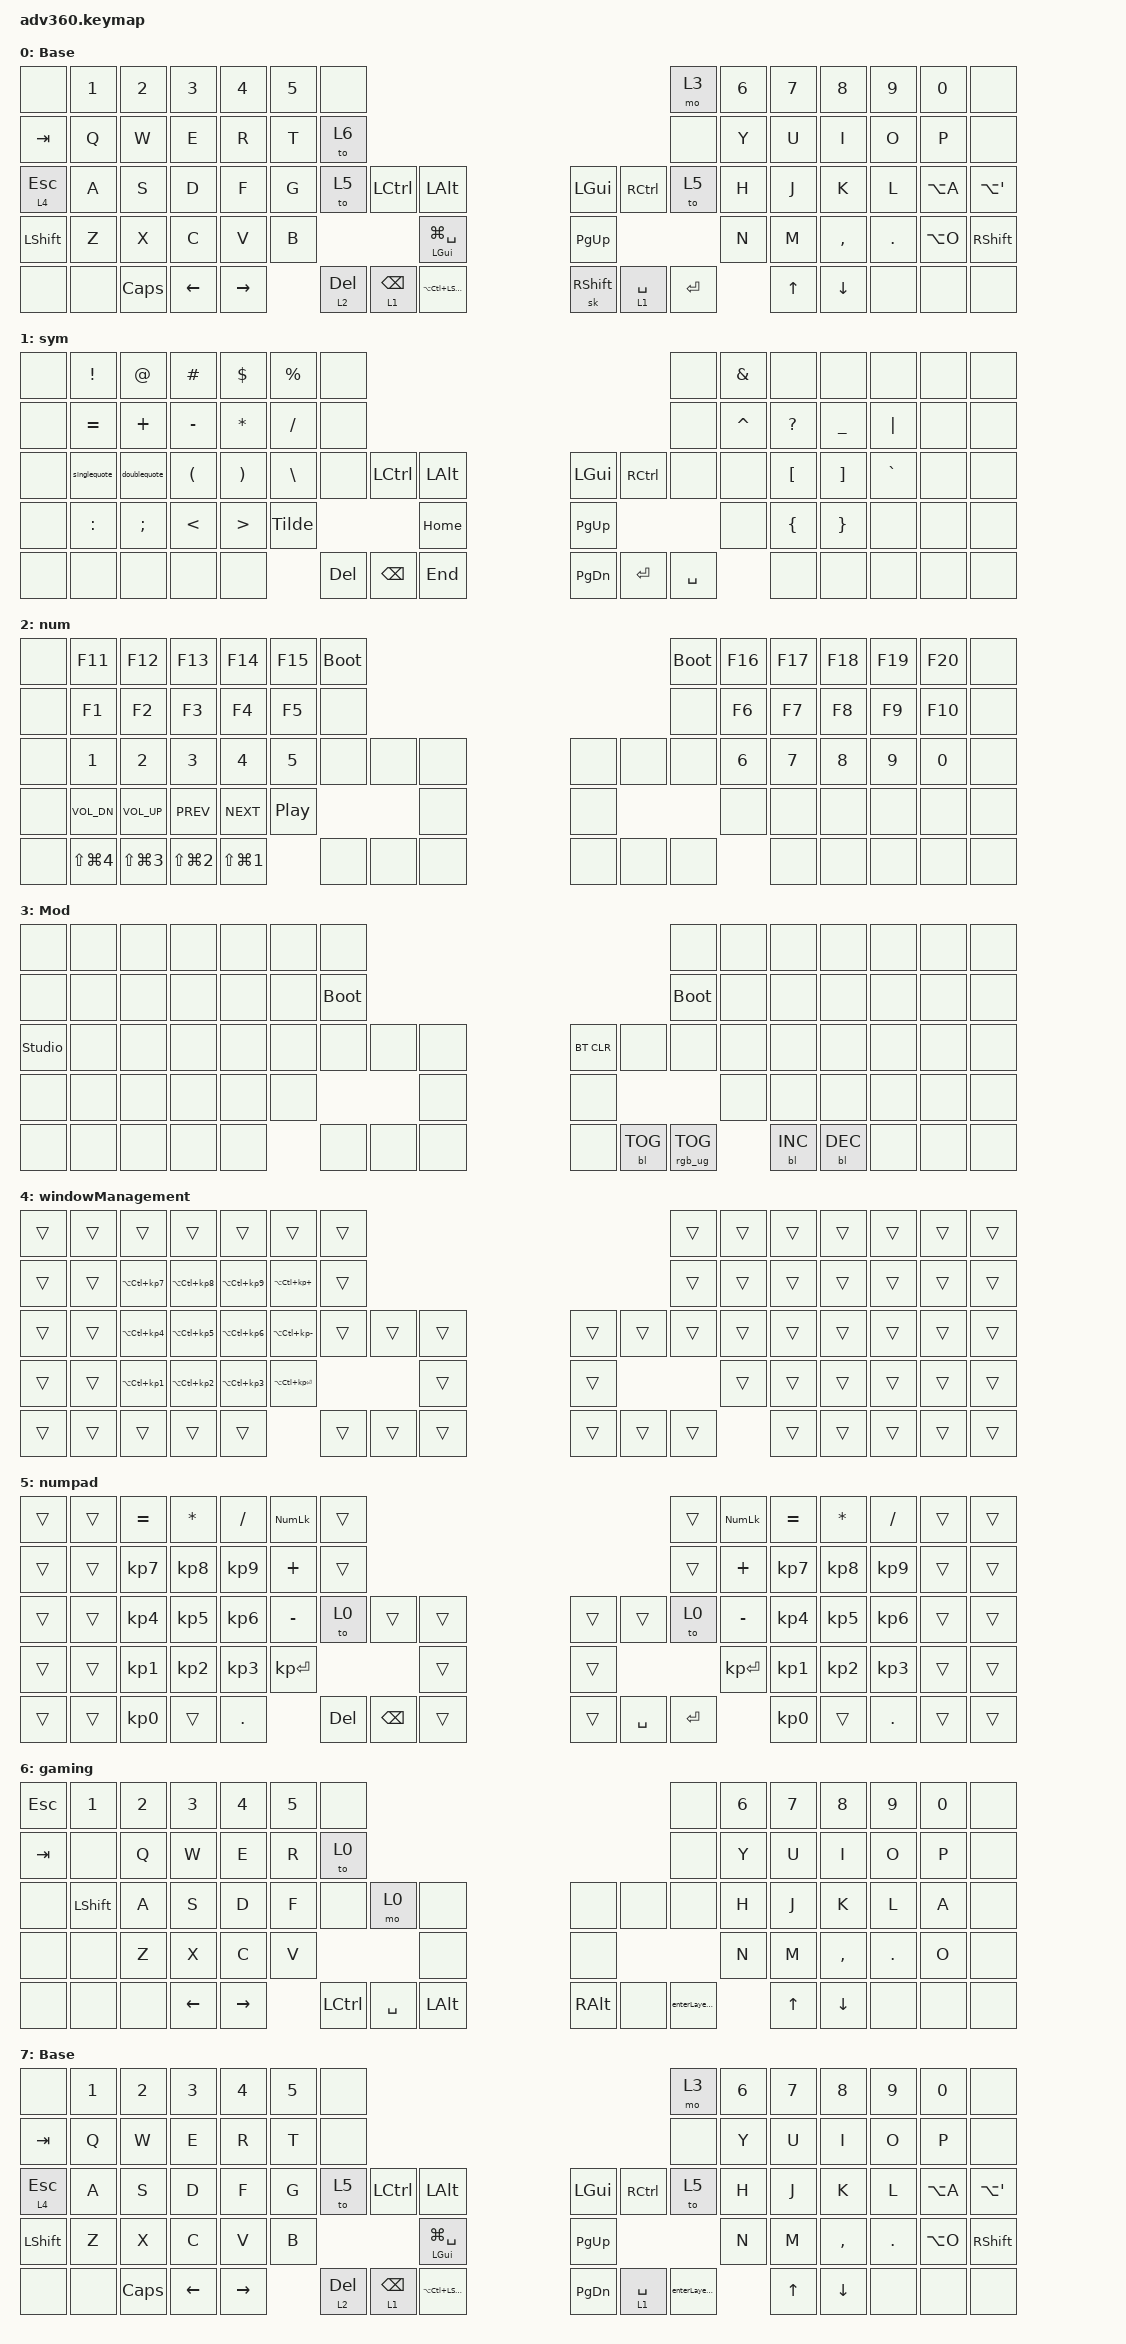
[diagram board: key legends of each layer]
#include <dt-bindings/zmk/stp.h>
#include <behaviors.dtsi>
#include <dt-bindings/zmk/backlight.h>
#include <dt-bindings/zmk/bt.h>
#include <dt-bindings/zmk/keys.h>
#include <dt-bindings/zmk/rgb.h>

/ {
    behaviors {
        #include "macros.dtsi"
      #include "version.dtsi"
    };

    macros {
        Tilde: Tilde {
            compatible = "zmk,behavior-macro";
            #binding-cells = <0>;
            bindings = <&kp TILDE &kp SPACE>;
            label = "TILDE";
        };

        enterLayerSwitch: enterLayerSwitch {
            compatible = "zmk,behavior-macro";
            #binding-cells = <0>;
            bindings = <&to 6 &kp ENTER>;
            label = "ENTERLAYERSWITCH";
        };

        enterLayerSwitch2: enterLayerSwitch2 {
            compatible = "zmk,behavior-macro";
            #binding-cells = <0>;
            bindings = <&to 7 &kp ENTER>;
            label = "ENTERLAYERSWITCH2";
        };

        singlequote: singlequote {
            compatible = "zmk,behavior-macro";
            #binding-cells = <0>;
            bindings = <&kp SINGLE_QUOTE &kp SPACE>;
            label = "SINGLEQUOTE";
        };

        doublequote: doublequote {
            compatible = "zmk,behavior-macro";
            #binding-cells = <0>;
            bindings = <&kp DOUBLE_QUOTES &kp SPACE>;
            label = "DOUBLEQUOTE";
        };
    };

    keymap {
        compatible = "zmk,keymap";

        default_layer {
            display-name = "Base";
            bindings = <
&none         &kp N1  &kp N2    &kp N3    &kp N4     &kp N5  &none                                                                                 &mo 3      &kp N6  &kp N7  &kp N8     &kp N9   &kp N0     &none
&kp TAB       &kp Q   &kp W     &kp E     &kp R      &kp T   &to 6                                                                                 &none      &kp Y   &kp U   &kp I      &kp O    &kp P      &none
&lt 4 ESCAPE  &kp A   &kp S     &kp D     &kp F      &kp G   &to 5      &kp LCTRL        &kp LALT                    &kp LGUI         &kp RCTRL    &to 5      &kp H   &kp J   &kp K      &kp L    &kp LA(A)  &kp LA(SQT)
&kp LSHFT     &kp Z   &kp X     &kp C     &kp V      &kp B                               &mt LEFT_GUI LG(SPACE)      &kp PG_UP                                &kp N   &kp M   &kp COMMA  &kp DOT  &kp LA(O)  &kp RSHFT
&none         &none   &kp CAPS  &kp LEFT  &kp RIGHT          &lt 2 DEL  &lt 1 BACKSPACE  &kp LA(LC(LEFT_SHIFT))      &sk RIGHT_SHIFT  &lt 1 SPACE  &kp ENTER          &kp UP  &kp DOWN   &none    &none      &none
            >;
        };

        sym {
            display-name = "sym";
            bindings = <
&none  &kp EXCL      &kp AT         &kp HASH              &kp DOLLAR             &kp PERCENT    &none                                                   &none      &kp AMPS   &none             &none              &none      &none  &none
&none  &kp EQUAL     &kp PLUS       &kp MINUS             &kp ASTRK              &kp SLASH      &none                                                   &none      &kp CARET  &kp QUESTION      &kp UNDER          &kp PIPE   &none  &none
&none  &singlequote  &doublequote   &kp LEFT_PARENTHESIS  &kp RIGHT_PARENTHESIS  &kp BACKSLASH  &none    &kp LCTRL  &kp LALT      &kp LGUI   &kp RCTRL  &none      &none      &kp LEFT_BRACKET  &kp RIGHT_BRACKET  &kp GRAVE  &none  &none
&none  &kp COLON     &kp SEMICOLON  &kp LESS_THAN         &kp GREATER_THAN       &Tilde                             &kp HOME      &kp PG_UP                        &none      &kp LEFT_BRACE    &kp RIGHT_BRACE    &none      &none  &none
&none  &none         &none          &none                 &none                                 &kp DEL  &kp BSPC   &kp END       &kp PG_DN  &kp ENTER  &kp SPACE             &none             &none              &none      &none  &none
            >;
        };

        num {
            display-name = "num";
            bindings = <
&none  &kp F11               &kp F12               &kp F13               &kp F14               &kp F15           &bootloader                                  &bootloader  &kp F16  &kp F17  &kp F18  &kp F19  &kp F20  &none
&none  &kp F1                &kp F2                &kp F3                &kp F4                &kp F5            &none                                        &none        &kp F6   &kp F7   &kp F8   &kp F9   &kp F10  &none
&none  &kp NUMBER_1          &kp N2                &kp N3                &kp N4                &kp N5            &none        &none  &none      &none  &none  &none        &kp N6   &kp N7   &kp N8   &kp N9   &kp N0   &none
&none  &kp C_VOL_DN          &kp C_VOL_UP          &kp C_PREV            &kp C_NEXT            &kp C_PLAY_PAUSE                      &none      &none                      &none    &none    &none    &none    &none    &none
&none  &kp LS(LG(NUMBER_4))  &kp LS(LG(NUMBER_3))  &kp LS(LG(NUMBER_2))  &kp LS(LG(NUMBER_1))                    &none        &none  &none      &none  &none  &none                 &none    &none    &none    &none    &none
            >;
        };

        mod {
            display-name = "Mod";
            bindings = <
&none           &none  &none  &none  &none  &none  &none                                                  &none            &none  &none       &none       &none  &none  &none
&none           &none  &none  &none  &none  &none  &bootloader                                            &bootloader      &none  &none       &none       &none  &none  &none
&studio_unlock  &none  &none  &none  &none  &none  &none        &none  &none      &bt BT_CLR  &none       &none            &none  &none       &none       &none  &none  &none
&none           &none  &none  &none  &none  &none                      &none      &none                                    &none  &none       &none       &none  &none  &none
&none           &none  &none  &none  &none         &none        &none  &none      &none       &bl BL_TOG  &rgb_ug RGB_TOG         &bl BL_INC  &bl BL_DEC  &none  &none  &none
            >;
        };

        windowManagement {
            bindings = <
&trans  &trans  &trans                   &trans                   &trans                   &trans                &trans                                      &trans  &trans  &trans  &trans  &trans  &trans  &trans
&trans  &trans  &kp LA(LC(KP_NUMBER_7))  &kp LA(LC(KP_NUMBER_8))  &kp LA(LC(KP_NUMBER_9))  &kp LA(LC(KP_PLUS))   &trans                                      &trans  &trans  &trans  &trans  &trans  &trans  &trans
&trans  &trans  &kp LA(LC(KP_NUMBER_4))  &kp LA(LC(KP_NUMBER_5))  &kp LA(LC(KP_NUMBER_6))  &kp LA(LC(KP_MINUS))  &trans  &trans  &trans      &trans  &trans  &trans  &trans  &trans  &trans  &trans  &trans  &trans
&trans  &trans  &kp LA(LC(KP_NUMBER_1))  &kp LA(LC(KP_NUMBER_2))  &kp LA(LC(KP_NUMBER_3))  &kp LA(LC(KP_ENTER))                  &trans      &trans                  &trans  &trans  &trans  &trans  &trans  &trans
&trans  &trans  &trans                   &trans                   &trans                                         &trans  &trans  &trans      &trans  &trans  &trans          &trans  &trans  &trans  &trans  &trans
            >;
        };

        numpad {
            bindings = <
&trans  &trans  &kp EQUAL        &kp ASTERISK     &kp SLASH        &kp KP_NUMLOCK  &trans                                                 &trans     &kp KP_NUMLOCK  &kp EQUAL        &kp ASTERISK     &kp SLASH        &trans  &trans
&trans  &trans  &kp KP_NUMBER_7  &kp KP_NUMBER_8  &kp KP_NUMBER_9  &kp PLUS        &trans                                                 &trans     &kp PLUS        &kp KP_NUMBER_7  &kp KP_NUMBER_8  &kp KP_NUMBER_9  &trans  &trans
&trans  &trans  &kp KP_NUMBER_4  &kp KP_NUMBER_5  &kp KP_NUMBER_6  &kp MINUS       &to 0    &trans         &trans      &trans  &trans     &to 0      &kp MINUS       &kp KP_NUMBER_4  &kp KP_NUMBER_5  &kp KP_NUMBER_6  &trans  &trans
&trans  &trans  &kp KP_NUMBER_1  &kp KP_NUMBER_2  &kp KP_NUMBER_3  &kp KP_ENTER                            &trans      &trans                        &kp KP_ENTER    &kp KP_NUMBER_1  &kp KP_NUMBER_2  &kp KP_NUMBER_3  &trans  &trans
&trans  &trans  &kp KP_NUMBER_0  &trans           &kp PERIOD                       &kp DEL  &kp BACKSPACE  &trans      &trans  &kp SPACE  &kp ENTER                  &kp KP_NUMBER_0  &trans           &kp PERIOD       &trans  &trans
            >;
        };

        gaming {
            bindings = <
&kp ESCAPE  &kp NUMBER_1    &kp NUMBER_2  &kp NUMBER_3  &kp N4     &kp N5  &none                                                                &none               &kp N6  &kp N7  &kp N8     &kp N9   &kp N0  &none
&kp TAB     &none           &kp Q         &kp W         &kp E      &kp R   &to 0                                                                &none               &kp Y   &kp U   &kp I      &kp O    &kp P   &none
&none       &kp LEFT_SHIFT  &kp A         &kp S         &kp D      &kp F   &none             &mo 0      &none             &none          &none  &none               &kp H   &kp J   &kp K      &kp L    &kp A   &none
&none       &none           &kp Z         &kp X         &kp C      &kp V                                &none             &none                                     &kp N   &kp M   &kp COMMA  &kp DOT  &kp O   &none
&none       &none           &none         &kp LEFT      &kp RIGHT          &kp LEFT_CONTROL  &kp SPACE  &kp LEFT_ALT      &kp RIGHT_ALT  &none  &enterLayerSwitch2          &kp UP  &kp DOWN   &none    &none   &none
            >;
        };

        gaming_default {
            display-name = "Base";
            bindings = <
&none         &kp N1  &kp N2    &kp N3    &kp N4     &kp N5  &none                                                                           &mo 3              &kp N6  &kp N7  &kp N8     &kp N9   &kp N0     &none
&kp TAB       &kp Q   &kp W     &kp E     &kp R      &kp T   &none                                                                           &none              &kp Y   &kp U   &kp I      &kp O    &kp P      &none
&lt 4 ESCAPE  &kp A   &kp S     &kp D     &kp F      &kp G   &to 5      &kp LCTRL        &kp LALT                    &kp LGUI   &kp RCTRL    &to 5              &kp H   &kp J   &kp K      &kp L    &kp LA(A)  &kp LA(SQT)
&kp LSHFT     &kp Z   &kp X     &kp C     &kp V      &kp B                               &mt LEFT_GUI LG(SPACE)      &kp PG_UP                                  &kp N   &kp M   &kp COMMA  &kp DOT  &kp LA(O)  &kp RSHFT
&none         &none   &kp CAPS  &kp LEFT  &kp RIGHT          &lt 2 DEL  &lt 1 BACKSPACE  &kp LA(LC(LEFT_SHIFT))      &kp PG_DN  &lt 1 SPACE  &enterLayerSwitch          &kp UP  &kp DOWN   &none    &none      &none
            >;
        };
    };
};
